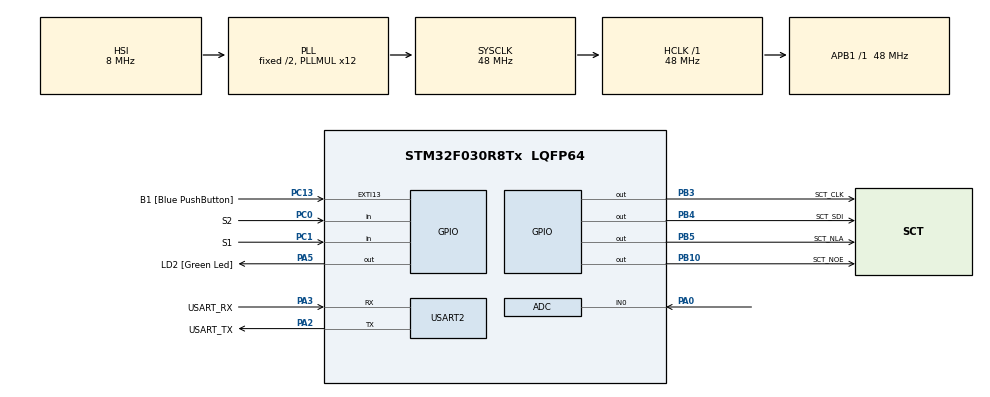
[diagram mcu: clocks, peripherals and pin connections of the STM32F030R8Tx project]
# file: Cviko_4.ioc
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ADC.ContinuousConvMode=ENABLE
ADC.Overrun=ADC_OVR_DATA_OVERWRITTEN
ADC.SamplingTime=ADC_SAMPLETIME_239CYCLES_5
Mcu.Family=STM32F0
Mcu.Name=STM32F030R8Tx
Mcu.Package=LQFP64
NVIC.ADC1_IRQn=true\:0\:0\:false\:false\:true\:true\:true\:true
PA0.Mode=IN0
PA0.Signal=ADC_IN0
PA13.GPIO_Label=TMS
PA13.Mode=Serial_Wire
PA13.Signal=SYS_SWDIO
PA14.GPIO_Label=TCK
PA14.Mode=Serial_Wire
PA14.Signal=SYS_SWCLK
PA2.GPIO_Label=USART_TX
PA2.GPIO_Mode=GPIO_MODE_AF_PP
PA2.GPIO_PuPd=GPIO_NOPULL
PA2.GPIO_Speed=GPIO_SPEED_FREQ_LOW
PA2.Mode=Asynchronous
PA2.Signal=USART2_TX
PA3.GPIO_Label=USART_RX
PA3.GPIO_Mode=GPIO_MODE_AF_PP
PA3.GPIO_PuPd=GPIO_NOPULL
PA3.GPIO_Speed=GPIO_SPEED_FREQ_LOW
PA3.Mode=Asynchronous
PA3.Signal=USART2_RX
PA5.GPIO_Label=LD2 [Green Led]
PA5.GPIO_Mode=GPIO_MODE_OUTPUT_PP
PA5.GPIO_PuPd=GPIO_NOPULL
PA5.GPIO_Speed=GPIO_SPEED_FREQ_LOW
PA5.Signal=GPIO_Output
PB10.GPIO_Label=SCT_NOE
PB10.Signal=GPIO_Output
PB3.GPIO_Label=SCT_CLK
PB3.Signal=GPIO_Output
PB4.GPIO_Label=SCT_SDI
PB4.Signal=GPIO_Output
PB5.GPIO_Label=SCT_NLA
PB5.Signal=GPIO_Output
PC0.GPIO_Label=S2
PC0.Signal=GPIO_Input
PC1.GPIO_Label=S1
PC1.Signal=GPIO_Input
PC13.GPIO_Label=B1 [Blue PushButton]
PC13.GPIO_ModeDefaultEXTI=GPIO_MODE_IT_FALLING
PC13.Signal=GPXTI13
PC14-OSC32_IN.Mode=LSE-External-Oscillator
PC14-OSC32_IN.Signal=RCC_OSC32_IN
PC15-OSC32_OUT.Mode=LSE-External-Oscillator
PC15-OSC32_OUT.Signal=RCC_OSC32_OUT
PF0-OSC_IN.Mode=HSE-External-Clock-Source
PF0-OSC_IN.Signal=RCC_OSC_IN
PF1-OSC_OUT.Signal=RCC_OSC_OUT
ProjectManager.HeapSize=0x200
ProjectManager.StackSize=0x400
ProjectManager.TargetToolchain=STM32CubeIDE
RCC.AHBFreq_Value=48000000
RCC.APB1Freq_Value=48000000
RCC.APB1TimFreq_Value=48000000
RCC.HCLKFreq_Value=48000000
RCC.PLLMUL=RCC_PLL_MUL12
RCC.SYSCLKFreq_VALUE=48000000
RCC.SYSCLKSource=RCC_SYSCLKSOURCE_PLLCLK
USART2.VirtualMode-Asynchronous=VM_ASYNC
VP_ADC_TempSens_Input.Mode=IN-TempSens
VP_ADC_Vref_Input.Mode=IN-Vrefint
board=NUCLEO-F030R8

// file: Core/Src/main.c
/* USER CODE BEGIN Header */
/**
 ******************************************************************************
 * @file           : main.c
 * @brief          : Main program body
 ******************************************************************************
 * @attention
 *
 * Copyright (c) 2023 STMicroelectronics.
 * All rights reserved.
 *
 * This software is licensed under terms that can be found in the LICENSE file
 * in the root directory of this software component.
 * If no LICENSE file comes with this software, it is provided AS-IS.
 *
 ******************************************************************************
 */
/* USER CODE END Header */
#include "main.h"

/* USER CODE BEGIN Includes */
#include "sct.h"
/* USER CODE END Includes */

/* USER CODE BEGIN PD */
/* Temperature sensor calibration value address */
#define TEMP110_CAL_ADDR ((uint16_t*) ((uint32_t) 0x1FFFF7C2))
#define TEMP30_CAL_ADDR ((uint16_t*) ((uint32_t) 0x1FFFF7B8))
/* Internal voltage reference calibration value address */
#define VREFINT_CAL_ADDR ((uint16_t*) ((uint32_t) 0x1FFFF7BA))
/* USER CODE END PD */

ADC_HandleTypeDef hadc;

UART_HandleTypeDef huart2;

/* USER CODE BEGIN PV */
static volatile uint32_t raw_pot;
static volatile uint32_t raw_temp;
static volatile uint32_t raw_volt;
/* USER CODE END PV */

void SystemClock_Config(void);
static void MX_GPIO_Init(void);
static void MX_USART2_UART_Init(void);
static void MX_ADC_Init(void);

/* USER CODE BEGIN 0 */
void HAL_ADC_ConvCpltCallback(ADC_HandleTypeDef* hadc)
{
	static uint8_t channel = 0;
	static uint32_t avg_pot;

	switch (channel) {
	case 0: // potenciometr chanel
		static uint32_t avg_pot;
		raw_pot = avg_pot >> 15;
		avg_pot -= raw_pot;
		avg_pot += HAL_ADC_GetValue(hadc);
		break;

	case 1: // temperature chanel
		raw_temp = HAL_ADC_GetValue(hadc);

		break;

	case 2: // vrefint chanel
		raw_volt = HAL_ADC_GetValue(hadc);

		break;
	default:
		break;
	}

	if (__HAL_ADC_GET_FLAG(hadc, ADC_FLAG_EOS)){
		channel = 0;

	}

	else channel++;
}

/* USER CODE END 0 */

int main(void)
{

	/* MCU Configuration--------------------------------------------------------*/

	/* Reset of all peripherals, Initializes the Flash interface and the Systick. */
	HAL_Init();

	/* Configure the system clock */
	SystemClock_Config();

	/* Initialize all configured peripherals */
	MX_GPIO_Init();
	MX_USART2_UART_Init();
	MX_ADC_Init();
	/* USER CODE BEGIN 2 */
	sct_init();
	HAL_ADCEx_Calibration_Start(&hadc);
	HAL_ADC_Start_IT(&hadc);

	/* USER CODE END 2 */

	/* Infinite loop */
	/* USER CODE BEGIN WHILE */
	while (1)
	{
		uint32_t voltage = 330 * (*VREFINT_CAL_ADDR) / raw_volt;
		int32_t temperature = (raw_temp - (int32_t)(*TEMP30_CAL_ADDR));
		temperature = temperature * (int32_t)(110 - 30);
		temperature = temperature
				/ (int32_t)(*TEMP110_CAL_ADDR - *TEMP30_CAL_ADDR);
		temperature = temperature + 30;

		//sct_value(raw_pot>>3, raw_pot>>9);
		sct_value(temperature, 0);
		HAL_Delay(10);

		/* USER CODE END WHILE */

		/* USER CODE BEGIN 3 */

		static enum { SHOW_POT, SHOW_VOLT, SHOW_TEMP } state = SHOW_POT;
		static uint32_t delay;
		if(state == SHOW_POT) {
			sct_value(raw_pot*500/4096, raw_pot*9/4096);
		}else if (state == SHOW_TEMP){
			int32_t temperature = (raw_temp -(int32_t)(*TEMP30_CAL_ADDR));
			temperature = temperature *(int32_t)(110-30);
			temperature = temperature / (int32_t)(*TEMP110_CAL_ADDR - *TEMP30_CAL_ADDR);
			temperature = temperature + 30;

			sct_value(temperature, raw_pot *9/4096);

		}else if (state == SHOW_VOLT){
			uint32_t voltage = 330*(*VREFINT_CAL_ADDR)/raw_volt;
			sct_value(voltage, raw_pot*9/4096);
		}

		if (HAL_GPIO_ReadPin(S1_GPIO_Port, S1_Pin) ==0){
			state = SHOW_VOLT;
			delay = HAL_GetTick();
		}

		if(HAL_GPIO_ReadPin(S2_GPIO_Port, S2_Pin) ==0){
			state = SHOW_TEMP;
			delay = HAL_GetTick();
		}

		if(HAL_GetTick() > delay +1000){
			state = SHOW_POT;
		}

	}

	/* USER CODE END 3 */
}

void SystemClock_Config(void)
{
	RCC_OscInitTypeDef RCC_OscInitStruct = {0};
	RCC_ClkInitTypeDef RCC_ClkInitStruct = {0};

	/** Initializes the RCC Oscillators according to the specified parameters
	 * in the RCC_OscInitTypeDef structure.
	 */
	RCC_OscInitStruct.OscillatorType = RCC_OSCILLATORTYPE_HSI|RCC_OSCILLATORTYPE_HSI14;
	RCC_OscInitStruct.HSIState = RCC_HSI_ON;
	RCC_OscInitStruct.HSI14State = RCC_HSI14_ON;
	RCC_OscInitStruct.HSICalibrationValue = RCC_HSICALIBRATION_DEFAULT;
	RCC_OscInitStruct.HSI14CalibrationValue = 16;
	RCC_OscInitStruct.PLL.PLLState = RCC_PLL_ON;
	RCC_OscInitStruct.PLL.PLLSource = RCC_PLLSOURCE_HSI;
	RCC_OscInitStruct.PLL.PLLMUL = RCC_PLL_MUL12;
	RCC_OscInitStruct.PLL.PREDIV = RCC_PREDIV_DIV1;
	if (HAL_RCC_OscConfig(&RCC_OscInitStruct) != HAL_OK)
	{
		Error_Handler();
	}

	/** Initializes the CPU, AHB and APB buses clocks
	 */
	RCC_ClkInitStruct.ClockType = RCC_CLOCKTYPE_HCLK|RCC_CLOCKTYPE_SYSCLK
			|RCC_CLOCKTYPE_PCLK1;
	RCC_ClkInitStruct.SYSCLKSource = RCC_SYSCLKSOURCE_PLLCLK;
	RCC_ClkInitStruct.AHBCLKDivider = RCC_SYSCLK_DIV1;
	RCC_ClkInitStruct.APB1CLKDivider = RCC_HCLK_DIV1;

	if (HAL_RCC_ClockConfig(&RCC_ClkInitStruct, FLASH_LATENCY_1) != HAL_OK)
	{
		Error_Handler();
	}
}

static void MX_ADC_Init(void)
{

	ADC_ChannelConfTypeDef sConfig = {0};

	/** Configure the global features of the ADC (Clock, Resolution, Data Alignment and number of conversion)
	 */
	hadc.Instance = ADC1;
	hadc.Init.ClockPrescaler = ADC_CLOCK_ASYNC_DIV1;
	hadc.Init.Resolution = ADC_RESOLUTION_12B;
	hadc.Init.DataAlign = ADC_DATAALIGN_RIGHT;
	hadc.Init.ScanConvMode = ADC_SCAN_DIRECTION_FORWARD;
	hadc.Init.EOCSelection = ADC_EOC_SINGLE_CONV;
	hadc.Init.LowPowerAutoWait = DISABLE;
	hadc.Init.LowPowerAutoPowerOff = DISABLE;
	hadc.Init.ContinuousConvMode = ENABLE;
	hadc.Init.DiscontinuousConvMode = DISABLE;
	hadc.Init.ExternalTrigConv = ADC_SOFTWARE_START;
	hadc.Init.ExternalTrigConvEdge = ADC_EXTERNALTRIGCONVEDGE_NONE;
	hadc.Init.DMAContinuousRequests = DISABLE;
	hadc.Init.Overrun = ADC_OVR_DATA_OVERWRITTEN;
	if (HAL_ADC_Init(&hadc) != HAL_OK)
	{
		Error_Handler();
	}

	/** Configure for the selected ADC regular channel to be converted.
	 */
	sConfig.Channel = ADC_CHANNEL_0;
	sConfig.Rank = ADC_RANK_CHANNEL_NUMBER;
	sConfig.SamplingTime = ADC_SAMPLETIME_239CYCLES_5;
	if (HAL_ADC_ConfigChannel(&hadc, &sConfig) != HAL_OK)
	{
		Error_Handler();
	}

	/** Configure for the selected ADC regular channel to be converted.
	 */
	sConfig.Channel = ADC_CHANNEL_TEMPSENSOR;
	if (HAL_ADC_ConfigChannel(&hadc, &sConfig) != HAL_OK)
	{
		Error_Handler();
	}

	/** Configure for the selected ADC regular channel to be converted.
	 */
	sConfig.Channel = ADC_CHANNEL_VREFINT;
	if (HAL_ADC_ConfigChannel(&hadc, &sConfig) != HAL_OK)
	{
		Error_Handler();
	}

}

static void MX_USART2_UART_Init(void)
{

	huart2.Instance = USART2;
	huart2.Init.BaudRate = 38400;
	huart2.Init.WordLength = UART_WORDLENGTH_8B;
	huart2.Init.StopBits = UART_STOPBITS_1;
	huart2.Init.Parity = UART_PARITY_NONE;
	huart2.Init.Mode = UART_MODE_TX_RX;
	huart2.Init.HwFlowCtl = UART_HWCONTROL_NONE;
	huart2.Init.OverSampling = UART_OVERSAMPLING_16;
	huart2.Init.OneBitSampling = UART_ONE_BIT_SAMPLE_DISABLE;
	huart2.AdvancedInit.AdvFeatureInit = UART_ADVFEATURE_NO_INIT;
	if (HAL_UART_Init(&huart2) != HAL_OK)
	{
		Error_Handler();
	}

}

static void MX_GPIO_Init(void)
{
	GPIO_InitTypeDef GPIO_InitStruct = {0};

	/* GPIO Ports Clock Enable */
	__HAL_RCC_GPIOC_CLK_ENABLE();
	__HAL_RCC_GPIOF_CLK_ENABLE();
	__HAL_RCC_GPIOA_CLK_ENABLE();
	__HAL_RCC_GPIOB_CLK_ENABLE();

	/*Configure GPIO pin Output Level */
	HAL_GPIO_WritePin(LD2_GPIO_Port, LD2_Pin, GPIO_PIN_RESET);

	/*Configure GPIO pin Output Level */
	HAL_GPIO_WritePin(GPIOB, SCT_NOE_Pin|SCT_CLK_Pin|SCT_SDI_Pin|SCT_NLA_Pin, GPIO_PIN_RESET);

	/*Configure GPIO pin : B1_Pin */
	GPIO_InitStruct.Pin = B1_Pin;
	GPIO_InitStruct.Mode = GPIO_MODE_IT_FALLING;
	GPIO_InitStruct.Pull = GPIO_NOPULL;
	HAL_GPIO_Init(B1_GPIO_Port, &GPIO_InitStruct);

	/*Configure GPIO pins : S2_Pin S1_Pin */
	GPIO_InitStruct.Pin = S2_Pin|S1_Pin;
	GPIO_InitStruct.Mode = GPIO_MODE_INPUT;
	GPIO_InitStruct.Pull = GPIO_NOPULL;
	HAL_GPIO_Init(GPIOC, &GPIO_InitStruct);

	/*Configure GPIO pin : LD2_Pin */
	GPIO_InitStruct.Pin = LD2_Pin;
	GPIO_InitStruct.Mode = GPIO_MODE_OUTPUT_PP;
	GPIO_InitStruct.Pull = GPIO_NOPULL;
	GPIO_InitStruct.Speed = GPIO_SPEED_FREQ_LOW;
	HAL_GPIO_Init(LD2_GPIO_Port, &GPIO_InitStruct);

	/*Configure GPIO pins : SCT_NOE_Pin SCT_CLK_Pin SCT_SDI_Pin SCT_NLA_Pin */
	GPIO_InitStruct.Pin = SCT_NOE_Pin|SCT_CLK_Pin|SCT_SDI_Pin|SCT_NLA_Pin;
	GPIO_InitStruct.Mode = GPIO_MODE_OUTPUT_PP;
	GPIO_InitStruct.Pull = GPIO_NOPULL;
	GPIO_InitStruct.Speed = GPIO_SPEED_FREQ_LOW;
	HAL_GPIO_Init(GPIOB, &GPIO_InitStruct);

}

void Error_Handler(void)
{
	__disable_irq();
	while (1)
	{
	}
}
